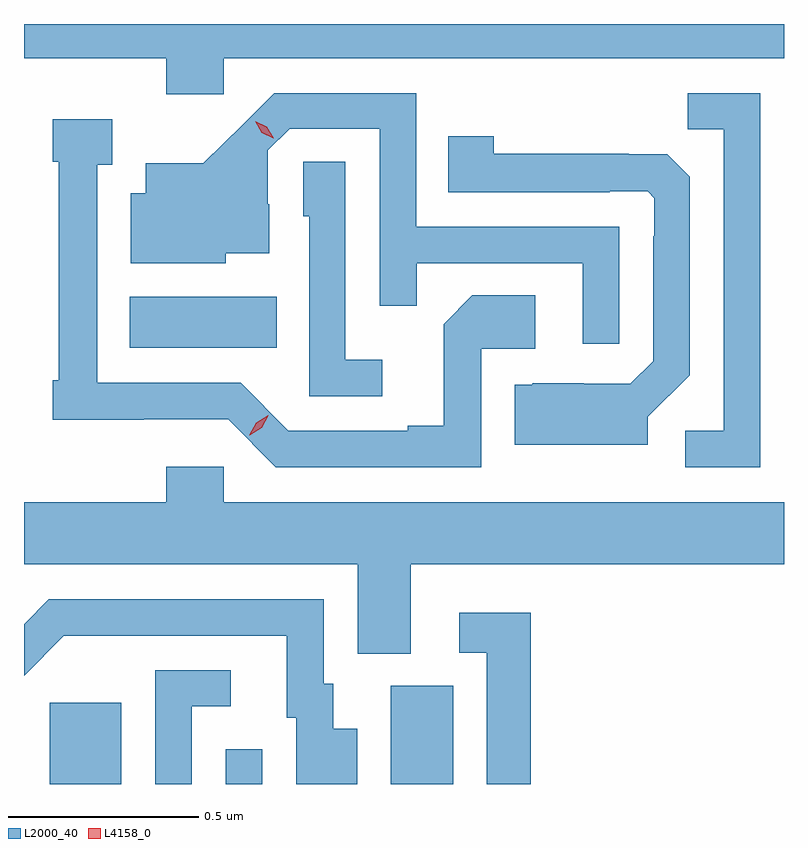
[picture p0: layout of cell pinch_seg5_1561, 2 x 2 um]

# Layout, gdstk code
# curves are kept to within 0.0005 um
import gdstk
lib = gdstk.Library(unit=1e-6, precision=1e-09)
def R(c, l, rs):  # rectangles x0, y0, x1, y1
    for r in rs: c.add(gdstk.rectangle(r[:2], r[2:], *l))
def P(c, l, *ps):  # polygons
    for p in ps: c.add(gdstk.Polygon(p, *l))
L2000_40 = (2000, 40)
L4158_0 = (4158, 0)

pinch_seg5_1561 = lib.new_cell('pinch_seg5_1561')
R(pinch_seg5_1561, L2000_40, [(311.651,848.19,311.839,848.404), (312.114,848.19,312.21,848.281), (312.548,848.19,312.712,848.448), (311.861,849.338,312.248,849.472)])
P(pinch_seg5_1561, L2000_40, [(312.108,850.1),(313.583,850.1),(313.583,850.19),(311.583,850.19),(311.583,850.1),(311.957,850.1),(311.957,850.005),(312.108,850.005)],
  [(313.521,850.008),(313.33,850.008),(313.33,849.913),(313.425,849.913),(313.425,849.12),(313.323,849.12),(313.323,849.024),(313.521,849.024)],
  [(313.149,849.657),(312.615,849.657),(312.615,850.008),(312.242,850.008),(312.055,849.823),(311.903,849.823),(311.903,849.744),(311.864,849.744),(311.864,849.56),(312.114,849.56),(312.114,849.587),(312.229,849.587),(312.229,849.716),(312.225,849.716),(312.225,849.858),(312.282,849.915),(312.519,849.915),(312.519,849.448),(312.617,849.448),(312.617,849.561),(313.053,849.561),(313.053,849.348),(313.149,849.348)],
  [(312.786,849.336),(312.928,849.336),(312.928,849.476),(312.763,849.476),(312.687,849.4),(312.687,849.133),(312.593,849.133),(312.593,849.12),(312.279,849.12),(312.153,849.246),(311.776,849.246),(311.776,849.819),(311.815,849.819),(311.815,849.94),(311.658,849.94),(311.658,849.827),(311.675,849.827),(311.675,849.253),(311.658,849.253),(311.658,849.149),(311.898,849.149),(311.898,849.15),(312.12,849.15),(312.246,849.024),(312.786,849.024)],
  [(313.225,849.156),(313.335,849.266),(313.335,849.788),(313.276,849.847),(313.175,849.847),(313.175,849.848),(312.819,849.848),(312.819,849.895),(312.7,849.895),(312.7,849.747),(313.124,849.747),(313.124,849.75),(313.224,849.75),(313.242,849.732),(313.242,849.632),(313.239,849.632),(313.239,849.303),(313.179,849.243),(313.056,849.243),(313.056,849.244),(312.922,849.244),(312.919,849.241),(312.875,849.241),(312.875,849.083),(313.225,849.083)],
  [(312.526,849.307),(312.429,849.307),(312.429,849.827),(312.318,849.827),(312.318,849.684),(312.333,849.684),(312.333,849.21),(312.526,849.21)],
  [(312.601,848.768),(313.583,848.768),(313.583,848.932),(312.108,848.932),(312.108,849.025),(311.957,849.025),(311.957,848.932),(311.583,848.932),(311.583,848.768),(312.461,848.768),(312.461,848.533),(312.601,848.533)],
  [(312.46,848.335),(312.397,848.335),(312.397,848.454),(312.372,848.454),(312.372,848.676),(311.648,848.676),(311.583,848.611),(311.583,848.475),(311.688,848.58),(312.275,848.58),(312.275,848.364),(312.299,848.364),(312.299,848.19),(312.46,848.19)],
  [(312.917,848.641),(312.729,848.641),(312.729,848.535),(312.801,848.535),(312.801,848.19),(312.917,848.19)],
  [(312.024,848.394),(312.127,848.394),(312.127,848.49),(311.928,848.49),(311.928,848.19),(312.024,848.19)])
P(pinch_seg5_1561, L4158_0, [(312.239,849.889),(312.209,849.904),(312.192,849.934),(312.192,849.934),(312.192,849.934),(312.222,849.919),(312.24,849.889),(312.24,849.889)],
  [(312.176,849.108),(312.176,849.108),(312.194,849.141),(312.226,849.16),(312.226,849.16),(312.226,849.159),(312.208,849.127),(312.177,849.108)])

lib.write_gds('pinch_seg5_1561.gds')
